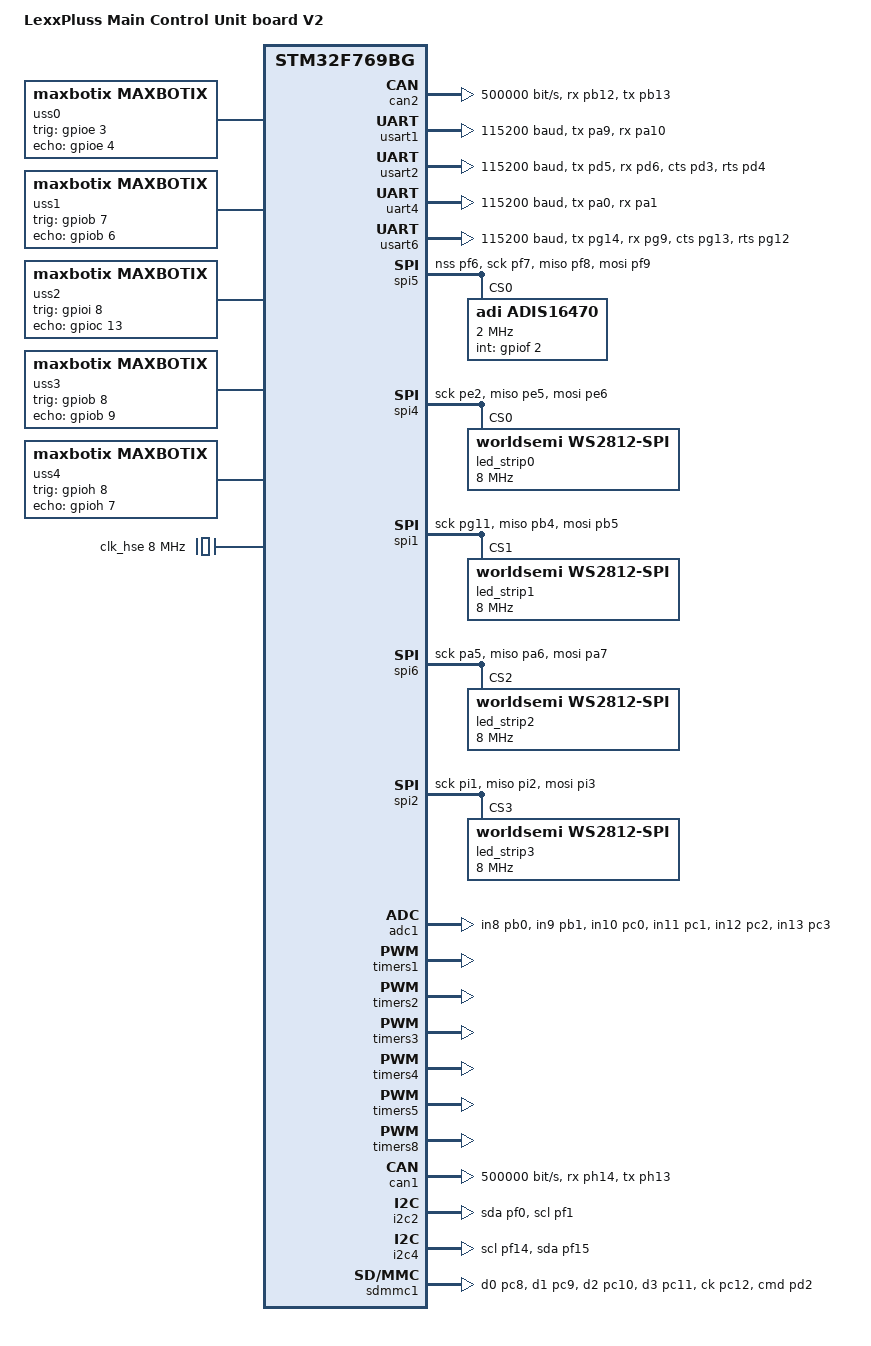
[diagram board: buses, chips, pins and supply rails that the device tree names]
/*
 * Copyright (c) 2022-2023, LexxPluss Inc.
 * All rights reserved.
 *
 * Redistribution and use in source and binary forms, with or without
 * modification, are permitted provided that the following conditions are met:
 *
 * 1. Redistributions of source code must retain the above copyright notice,
 *    this list of conditions and the following disclaimer.
 * 2. Redistributions in binary form must reproduce the above copyright notice,
 *    this list of conditions and the following disclaimer in the documentation
 *    and/or other materials provided with the distribution.
 *
 * THIS SOFTWARE IS PROVIDED BY THE COPYRIGHT HOLDERS AND CONTRIBUTORS "AS IS" AND
 * ANY EXPRESS OR IMPLIED WARRANTIES, INCLUDING, BUT NOT LIMITED TO, THE IMPLIED
 * WARRANTIES OF MERCHANTABILITY AND FITNESS FOR A PARTICULAR PURPOSE ARE
 * DISCLAIMED. IN NO EVENT SHALL THE COPYRIGHT OWNER OR CONTRIBUTORS BE LIABLE FOR
 * ANY DIRECT, INDIRECT, INCIDENTAL, SPECIAL, EXEMPLARY, OR CONSEQUENTIAL DAMAGES
 * (INCLUDING, BUT NOT LIMITED TO, PROCUREMENT OF SUBSTITUTE GOODS OR SERVICES;
 * LOSS OF USE, DATA, OR PROFITS; OR BUSINESS INTERRUPTION) HOWEVER CAUSED AND
 * ON ANY THEORY OF LIABILITY, WHETHER IN CONTRACT, STRICT LIABILITY, OR TORT
 * (INCLUDING NEGLIGENCE OR OTHERWISE) ARISING IN ANY WAY OUT OF THE USE OF THIS
 * SOFTWARE, EVEN IF ADVISED OF THE POSSIBILITY OF SUCH DAMAGE.
 */

/dts-v1/;
#include <mem.h>
#include <zephyr/dt-bindings/led/led.h>
#include <st/f7/stm32f769.dtsi>
#include <st/f7/stm32f769b(g-i)tx-pinctrl.dtsi>

/ {
	model = "LexxPluss Main Control Unit board V2";
	compatible = "st,stm32f769bg-lexxpluss";

	chosen {
		zephyr,code-partition = &slot0_partition;
		zephyr,console = &usart1;
		zephyr,shell-uart = &usart1;
		zephyr,sram = &sram0;
		zephyr,flash = &flash0;
		zephyr,dtcm = &dtcm;
		zephyr,can-primary = &can1;
		zephyr,can-secondary = &can2;
	};

	soc {
		flash-controller@40023c00 {
			flash0: flash@8000000 {
				reg = <0x08000000 DT_SIZE_K(1024)>;
			};
		};

		can2: can@40006800 {
			compatible = "st,stm32-can";
			#address-cells = <1>;
			#size-cells = <0>;
			reg = <0x40006800 0x400>;
			interrupts = <63 0>, <64 0>, <65 0>, <66 0>;
			interrupt-names = "TX", "RX0", "RX1", "SCE";
			clocks = <&rcc STM32_CLOCK_BUS_APB1 0x06000000>;
			master-can-reg = <0x40006400>;
			status = "disabled";
		};
	};

	uss0: mb1604-0 {
		compatible = "maxbotix,maxbotix";
		trig-gpios = <&gpioe 3 GPIO_ACTIVE_HIGH>;
		echo-gpios = <&gpioe 4 GPIO_ACTIVE_HIGH>;
		status = "okay";
	};

	uss1: mb1604-1 {
		compatible = "maxbotix,maxbotix";
		trig-gpios = <&gpiob 7 GPIO_ACTIVE_HIGH>;
		echo-gpios = <&gpiob 6 GPIO_ACTIVE_HIGH>;
		status = "okay";
	};

	uss2: mb1604-2 {
		compatible = "maxbotix,maxbotix";
		trig-gpios = <&gpioi 8 GPIO_ACTIVE_HIGH>;
		echo-gpios = <&gpioc 13 GPIO_ACTIVE_HIGH>;
		status = "okay";
	};

	uss3: mb1604-3 {
		compatible = "maxbotix,maxbotix";
		trig-gpios = <&gpiob 8 GPIO_ACTIVE_HIGH>;
		echo-gpios = <&gpiob 9 GPIO_ACTIVE_HIGH>;
		status = "okay";
	};

	uss4: mb1604-4 {
		compatible = "maxbotix,maxbotix";
		trig-gpios = <&gpioh 8 GPIO_ACTIVE_HIGH>;
		echo-gpios = <&gpioh 7 GPIO_ACTIVE_HIGH>;
		status = "okay";
	};
};

&clk_hse {
	hse-bypass;
	clock-frequency = <DT_FREQ_M(8)>;
	status = "okay";
};

&pll {
	div-m = <8>;
	mul-n = <432>;
	div-p = <2>;
	div-q = <9>;
	clocks = <&clk_hse>;
	status = "okay";
};

&rcc {
	clocks = <&pll>;
	clock-frequency = <DT_FREQ_M(216)>;
	ahb-prescaler = <1>;
	apb1-prescaler = <4>;
	apb2-prescaler = <2>;
};

&usart1 {
	pinctrl-0 = <&usart1_tx_pa9 &usart1_rx_pa10>;
	pinctrl-names = "default";
	current-speed = <115200>;
	status = "okay";
};

&usart2 {
	pinctrl-0 = <&usart2_tx_pd5 &usart2_rx_pd6 &usart2_cts_pd3 &usart2_rts_pd4>;
	pinctrl-names = "default";
	current-speed = <115200>;
	hw-flow-control;
	status = "okay";
};

&uart4 {
	pinctrl-0 = <&uart4_tx_pa0 &uart4_rx_pa1>;
	pinctrl-names = "default";
	current-speed = <115200>;
	status = "okay";
};

&usart6 {
	pinctrl-0 = <&usart6_tx_pg14 &usart6_rx_pg9 &usart6_cts_pg13 &usart6_rts_pg12>;
	pinctrl-names = "default";
	current-speed = <115200>;
	hw-flow-control;
	status = "okay";
};

&spi5 {
	pinctrl-0 = <&spi5_nss_pf6 &spi5_sck_pf7 &spi5_miso_pf8 &spi5_mosi_pf9>;
	pinctrl-names = "default";
	status = "okay";
	adis16470@0 {
		compatible = "adi,adis16470";
		reg = <0>;
		spi-max-frequency = <2000000>;
		int-gpios = <&gpiof 2 0>;
	};
};

&spi4 {
	pinctrl-0 = <&spi4_sck_pe2 &spi4_miso_pe5 &spi4_mosi_pe6>;
	pinctrl-names = "default";
	status = "okay";
	led_strip0: ws2812@0 {
		compatible = "worldsemi,ws2812-spi";
		reg = <0>;
		spi-max-frequency = <8000000>;
		chain-length = <36>;
		spi-one-frame = <0x7c>;
		spi-zero-frame = <0x60>;
		color-mapping = <LED_COLOR_ID_GREEN LED_COLOR_ID_RED LED_COLOR_ID_BLUE>;
	};
};

&spi1 {
	pinctrl-0 = <&spi1_sck_pg11 &spi1_miso_pb4 &spi1_mosi_pb5>;
	pinctrl-names = "default";
	status = "okay";
	led_strip1: ws2812@1 {
		compatible = "worldsemi,ws2812-spi";
		reg = <1>;
		spi-max-frequency = <8000000>;
		chain-length = <36>;
		spi-one-frame = <0x7c>;
		spi-zero-frame = <0x60>;
		color-mapping = <LED_COLOR_ID_GREEN LED_COLOR_ID_RED LED_COLOR_ID_BLUE>;
	};
};

&spi6 {
	pinctrl-0 = <&spi6_sck_pa5 &spi6_miso_pa6 &spi6_mosi_pa7>;
	pinctrl-names = "default";
	status = "okay";
	led_strip2: ws2812@2 {
		compatible = "worldsemi,ws2812-spi";
		reg = <2>;
		spi-max-frequency = <8000000>;
		chain-length = <25>;
		spi-one-frame = <0x7c>;
		spi-zero-frame = <0x60>;
		color-mapping = <LED_COLOR_ID_GREEN LED_COLOR_ID_RED LED_COLOR_ID_BLUE>;
	};
};

&spi2 {
	pinctrl-0 = <&spi2_sck_pi1 &spi2_miso_pi2 &spi2_mosi_pi3>;
	pinctrl-names = "default";
	status = "okay";
	led_strip3: ws2812@3 {
		compatible = "worldsemi,ws2812-spi";
		reg = <3>;
		spi-max-frequency = <8000000>;
		chain-length = <25>;
		spi-one-frame = <0x7c>;
		spi-zero-frame = <0x60>;
		color-mapping = <LED_COLOR_ID_GREEN LED_COLOR_ID_RED LED_COLOR_ID_BLUE>;
	};
};

&adc1 {
	pinctrl-0 = <&adc1_in8_pb0 &adc1_in9_pb1 &adc1_in10_pc0 &adc1_in11_pc1 &adc1_in12_pc2 &adc1_in13_pc3>;
	pinctrl-names = "default";
	status = "okay";
};

&timers1 {
	status = "okay";
	pwm1: pwm {
		status = "okay";
		pinctrl-0 = <&tim1_ch1_pe9 &tim1_ch2_pe11>;
		pinctrl-names = "default";
	};
};

&timers2 {
	status = "okay";
	pwm2: pwm {
		status = "okay";
		pinctrl-0 = <&tim2_ch3_pb10 &tim2_ch4_pb11>;
		pinctrl-names = "default";
	};
};

&timers3 {
	status = "okay";
	pwm3: pwm {
		status = "okay";
		pinctrl-0 = <&tim3_ch1_pc6 &tim3_ch2_pc7>;
		pinctrl-names = "default";
	};
};

&timers4 {
	status = "okay";
	pwm4: pwm {
		status = "okay";
		pinctrl-0 = <&tim4_ch1_pd12 &tim4_ch2_pd13>;
		pinctrl-names = "default";
	};
};

&timers5 {
	status = "okay";
	pwm5: pwm {
		status = "okay";
		pinctrl-0 = <&tim5_ch1_ph10 &tim5_ch2_ph11>;
		pinctrl-names = "default";
	};
};

&timers8 {
	status = "okay";
	pwm8: pwm {
		status = "okay";
		pinctrl-0 = <&tim8_ch1_pi5 &tim8_ch2_pi6>;
		pinctrl-names = "default";
	};
};

&can1 {
	pinctrl-0 = <&can1_rx_ph14 &can1_tx_ph13>;
	pinctrl-names = "default";
	bus-speed = <500000>;
	sjw = <1>;
	prop-seg = <0>;
	phase-seg1 = <5>;
	phase-seg2 = <6>;
	status = "okay";
};

&can2 {
	pinctrl-0 = <&can2_rx_pb12 &can2_tx_pb13>;
	pinctrl-names = "default";
	bus-speed = <500000>;
	sjw = <1>;
	prop-seg = <0>;
	phase-seg1 = <5>;
	phase-seg2 = <6>;
	status = "okay";
};

&i2c2 {
	pinctrl-0 = <&i2c2_sda_pf0 &i2c2_scl_pf1>;
	pinctrl-names = "default";
	status = "okay";
};

&i2c4 {
	pinctrl-0 = <&i2c4_scl_pf14 &i2c4_sda_pf15>;
	pinctrl-names = "default";
	status = "okay";
};

&sdmmc1 {
	pinctrl-0 = <&sdmmc1_d0_pc8 &sdmmc1_d1_pc9 &sdmmc1_d2_pc10 &sdmmc1_d3_pc11 &sdmmc1_ck_pc12 &sdmmc1_cmd_pd2>;
	pinctrl-names = "default";
	status = "okay";
};

&flash0 {
	partitions {
		compatible = "fixed-partitions";
		#address-cells = <1>;
		#size-cells = <1>;
		boot_partition: partition@0 {
			label = "mcuboot";
			reg = <0x0 0x00020000>;
		};
		storage_partition: partition@20000 {
			label = "storage";
			reg = <0x00020000 0x00020000>;
		};
		slot0_partition: partition@40000 {
			label = "image-0";
			reg = <0x00040000 0x00040000>;
		};
		slot1_partition: partition@80000 {
			label = "image-1";
			reg = <0x00080000 0x00040000>;
		};
		scratch_partition: partition@C0000 {
			label = "image-scratch";
			reg = <0x000C0000 0x00040000>;
		};
	};

};
